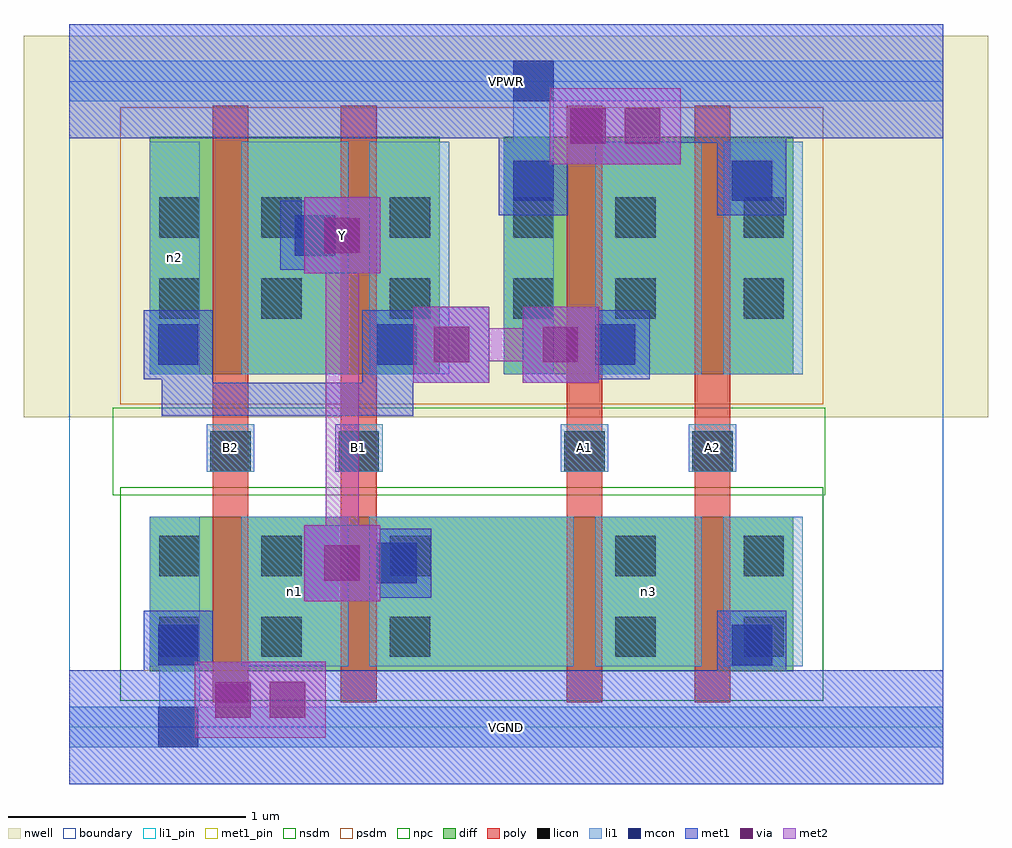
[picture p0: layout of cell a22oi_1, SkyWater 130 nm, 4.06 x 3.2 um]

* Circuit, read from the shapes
.subckt a22oi_1 A1 A2 B1 B2 VGND VPWR Y n1 n2 n3
XM1 n1 B2 VGND VSUBS sky130_fd_pr__nfet_01v8 w=0.65 l=0.15
XM2 Y B1 n1 VSUBS sky130_fd_pr__nfet_01v8 w=0.65 l=0.15
XM3 n3 A1 Y VSUBS sky130_fd_pr__nfet_01v8 w=0.65 l=0.15
XM4 VGND A2 n3 VSUBS sky130_fd_pr__nfet_01v8 w=0.65 l=0.15
XM5 Y B2 n2 n4 sky130_fd_pr__pfet_01v8 w=1 l=0.15
XM6 n2 B1 Y n4 sky130_fd_pr__pfet_01v8 w=1 l=0.15
XM7 n2 A1 VPWR n4 sky130_fd_pr__pfet_01v8 w=1 l=0.15
XM8 VPWR A2 n2 n4 sky130_fd_pr__pfet_01v8 w=1 l=0.15
.ends

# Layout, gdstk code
import gdstk
lib = gdstk.Library(unit=1e-6, precision=1e-09)
def R(c, l, rs):  # rectangles x0, y0, x1, y1
    for r in rs: c.add(gdstk.rectangle(r[:2], r[2:], *l))
def A(c, l, x, y, w, h, nx, ny, dx, dy):  # array of equal rectangles
    R(c, l, [(x+i*dx, y+j*dy, x+i*dx+w, y+j*dy+h) for i in range(nx) for j in range(ny)])
nwell = (64, 20)
diff = (65, 20)
poly = (66, 20)
licon = (66, 44)
li1_pin = (67, 16)
li1 = (67, 20)
mcon = (67, 44)
met1_pin = (68, 16)
met1 = (68, 20)
via = (68, 44)
met2 = (69, 20)
nsdm = (93, 44)
psdm = (94, 20)
npc = (95, 20)
boundary = (235, 4)

a22oi_1 = lib.new_cell('a22oi_1')
R(a22oi_1, nwell, [(-0.19,1.305,3.87,2.91), (0,1.305,3.68,2.91)])
R(a22oi_1, diff, [(0.34,0.235,3.05,0.885), (0.34,1.485,1.56,2.485), (1.83,1.485,3.05,2.485)])
R(a22oi_1, poly, [(0.605,0.105,0.755,2.615), (1.145,0.105,1.295,2.615), (2.095,0.105,2.245,2.615), (2.635,0.105,2.785,2.615)])
R(a22oi_1, licon, [(0.38,0.295,0.55,0.465), (0.81,0.295,0.98,0.465), (1.35,0.295,1.52,0.465), (2.3,0.295,2.47,0.465), (2.84,0.295,3.01,0.465), (0.38,0.635,0.55,0.805), (0.81,0.635,0.98,0.805), (1.35,0.635,1.52,0.805), (2.3,0.635,2.47,0.805), (2.84,0.635,3.01,0.805), (0.595,1.075,0.765,1.245), (1.135,1.075,1.305,1.245), (2.085,1.075,2.255,1.245), (2.625,1.075,2.795,1.245), (0.38,1.72,0.55,1.89), (0.81,1.72,0.98,1.89), (1.35,1.72,1.52,1.89), (1.87,1.72,2.04,1.89), (2.3,1.72,2.47,1.89), (2.84,1.72,3.01,1.89), (0.38,2.06,0.55,2.23), (0.81,2.06,0.98,2.23), (1.35,2.06,1.52,2.23), (1.87,2.06,2.04,2.23), (2.3,2.06,2.47,2.23), (2.84,2.06,3.01,2.23)])
R(a22oi_1, li1_pin, [(0.58,1.075,0.78,1.275), (1.12,1.075,1.32,1.275), (2.07,1.075,2.27,1.275), (2.61,1.075,2.81,1.275)])
R(a22oi_1, li1, [(0,-0.085,3.68,0.085), (0.38,-0.085,0.55,0.805), (0.34,0.255,0.55,0.885), (0.725,0.255,1.175,0.885), (1.265,0.255,2.125,0.885), (2.215,0.255,2.665,0.885), (2.755,0.255,3.09,0.885), (0.58,1.075,0.78,1.275), (1.12,1.075,1.32,1.275), (2.07,1.075,2.27,1.275), (2.61,1.075,2.81,1.275), (0.34,1.485,0.55,2.465), (0.725,1.485,1.175,2.465), (1.265,1.485,1.6,2.465), (1.83,1.485,2.04,2.465), (2.215,1.485,2.665,2.465), (2.755,1.485,3.09,2.465), (1.87,1.72,2.04,2.805), (0,2.635,3.68,2.805)])
A(a22oi_1, mcon, 0.375, 1.525, 0.17, 0.17, 3, 1, 0.92, 0)
R(a22oi_1, mcon, [(0.375,-0.085,0.545,0.085), (0.375,0.26,0.545,0.43), (2.79,0.26,2.96,0.43), (1.295,0.605,1.465,0.775), (0.95,1.985,1.12,2.155), (1.87,2.215,2.04,2.385), (2.79,2.215,2.96,2.385), (1.87,2.635,2.04,2.805)])
R(a22oi_1, met1_pin, [(0,-0.24,3.68,0.24), (0.99,1.91,1.31,2.23), (0,2.48,3.68,2.96)])
A(a22oi_1, met1, 0.315, 1.465, 0.29, 0.29, 3, 1, 0.92, 0)
R(a22oi_1, met1, [(0,-0.24,3.68,0.24), (0.315,-0.145,0.605,0.145), (0.39,-0.07,0.53,0.185), (0.53,-0.045,0.85,0.275), (0.76,-0.045,1.08,0.275), (0.39,0.045,0.53,0.185), (0.39,0.045,0.53,0.415), (0.39,0.045,0.76,0.185), (0.85,0.045,2.945,0.185), (2.805,0.045,2.945,0.415), (0.315,0.2,0.605,0.49), (2.73,0.2,3.02,0.49), (0.99,0.53,1.31,0.85), (1.235,0.545,1.525,0.835), (1.08,0.62,1.45,0.76), (0.39,1.31,0.53,1.68), (0.39,1.31,1.45,1.45), (1.31,1.31,1.45,1.68), (0.39,1.45,0.605,1.465), (1.235,1.45,1.45,1.465), (1.45,1.45,1.77,1.77), (1.91,1.45,2.23,1.77), (1.31,1.54,1.68,1.68), (2,1.54,2.37,1.68), (0.99,1.91,1.31,2.23), (0.89,1.925,1.18,2.215), (0.965,2,1.22,2.14), (1.81,2.155,2.1,2.445), (2.73,2.155,3.02,2.445), (1.885,2.23,2.025,2.6), (2.805,2.23,2.945,2.6), (2.025,2.37,2.345,2.69), (2.255,2.37,2.575,2.69), (1.81,2.445,2.1,2.48), (1.81,2.445,2.1,2.575), (2.73,2.445,3.02,2.48), (2.73,2.445,2.945,2.46), (1.885,2.46,2.025,2.715), (1.885,2.46,2.255,2.6), (1.885,2.46,2.025,2.79), (2.345,2.46,2.945,2.6), (0,2.48,3.68,2.96), (1.81,2.575,2.1,2.865), (1.885,2.575,2.025,2.715)])
R(a22oi_1, via, [(0.615,0.04,0.765,0.19), (0.845,0.04,0.995,0.19), (1.075,0.615,1.225,0.765), (1.535,1.535,1.685,1.685), (1.995,1.535,2.145,1.685), (1.075,1.995,1.225,2.145), (2.11,2.455,2.26,2.605), (2.34,2.455,2.49,2.605)])
R(a22oi_1, met2, [(0.53,-0.045,0.85,0.275), (0.76,-0.045,1.08,0.275), (0.62,0.045,0.99,0.185), (0.99,0.53,1.31,0.85), (1.08,0.62,1.22,2.14), (1.45,1.45,1.77,1.77), (1.91,1.45,2.23,1.77), (1.54,1.54,2.14,1.68), (0.99,1.91,1.31,2.23), (2.025,2.37,2.345,2.69), (2.255,2.37,2.575,2.69), (2.115,2.46,2.485,2.6)])
R(a22oi_1, nsdm, [(0.215,0.11,3.175,1.01)])
R(a22oi_1, psdm, [(0.215,1.36,3.175,2.61)])
R(a22oi_1, npc, [(0.185,0.975,3.185,1.345)])
R(a22oi_1, boundary, [(0,0,3.68,2.72)])
a22oi_1.add(gdstk.Label('B2', (0.68,1.175), layer=67, texttype=5))
a22oi_1.add(gdstk.Label('B1', (1.22,1.175), layer=67, texttype=5))
a22oi_1.add(gdstk.Label('A1', (2.17,1.175), layer=67, texttype=5))
a22oi_1.add(gdstk.Label('A2', (2.71,1.175), layer=67, texttype=5))
a22oi_1.add(gdstk.Label('n1', (0.95,0.57), layer=67, texttype=5))
a22oi_1.add(gdstk.Label('n3', (2.44,0.57), layer=67, texttype=5))
a22oi_1.add(gdstk.Label('n2', (0.445,1.975), layer=67, texttype=5))
a22oi_1.add(gdstk.Label('Y', (1.15,2.07), layer=68, texttype=5))
a22oi_1.add(gdstk.Label('VPWR', (1.84,2.72), layer=68, texttype=5))
a22oi_1.add(gdstk.Label('VGND', (1.84,0), layer=68, texttype=5))
a22oi_1.add(gdstk.Label('B2', (0.68,1.175), layer=67, texttype=16))
a22oi_1.add(gdstk.Label('B1', (1.22,1.175), layer=67, texttype=16))
a22oi_1.add(gdstk.Label('A1', (2.17,1.175), layer=67, texttype=16))
a22oi_1.add(gdstk.Label('A2', (2.71,1.175), layer=67, texttype=16))
a22oi_1.add(gdstk.Label('Y', (1.15,2.07), layer=68, texttype=16))
a22oi_1.add(gdstk.Label('VPWR', (1.84,2.72), layer=68, texttype=16))
a22oi_1.add(gdstk.Label('VGND', (1.84,0), layer=68, texttype=16))

lib.write_gds('a22oi_1.gds')
